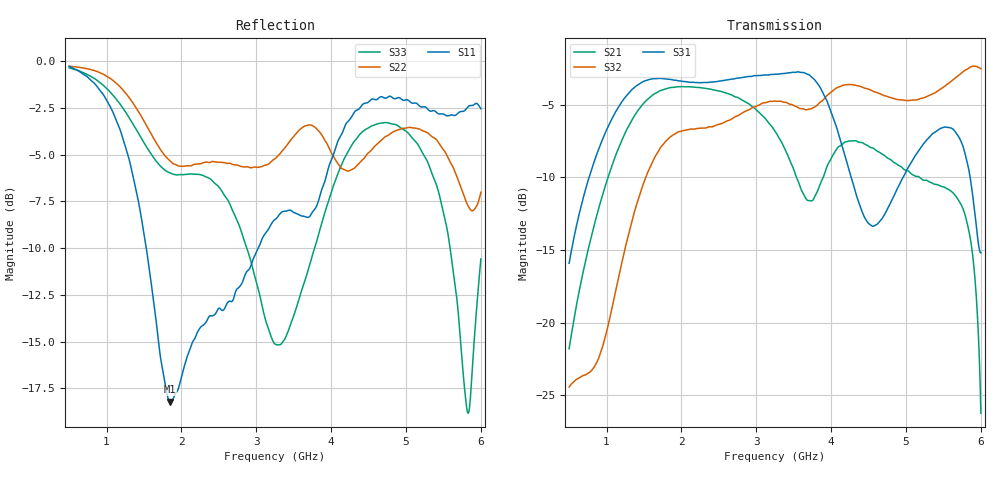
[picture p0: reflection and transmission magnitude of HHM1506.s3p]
! Port assignments
!  [o  ] 3
!  1 [o  ] 2
! Measurement condition
!  Operating Temperature = 25 Cel
!  DC Bias Current = 0 A
! TDK Corporation
# MHz S MA R 50
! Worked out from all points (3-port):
!   551 points, 500 MHz to 6 GHz, reference 50 ohm
!   strongest paths, dB at 500 MHz, 1.87 GHz, 3.25 GHz, 4.63 GHz, 6 GHz:
!     S31: -15.9, -3.3, -2.9, -13.1, -15.2
!     S32: -24.4, -7.1, -4.7, -4.2, -2.5
!     S21: -21.8, -3.8, -6.8, -8.2, -26.2
!   lowest |S11| = -18.2 dB at 1.85 GHz (marker M1), VSWR 1.28, Z = 40.5 + j5.92 ohm
!   |S11| at or under -10 dB: 1.531 GHz to 3.026 GHz (1.495 GHz wide, 65.6 % of centre)
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500  0.9672 -105.7  0.08218 -73.1  0.1617 101.0
     0.08137 -73.5  0.9684 134.2  0.05993 48.3
     0.1602 100.8  0.06004 48.5  0.9585 130.5
1180  0.6558 148.8  0.4157 -165.3  0.5712 9.7
      0.4105 -165.2  0.8534 63.3  0.15 54.6
      0.5632 9.9  0.1505 54.9  0.7674 53.7
1850  0.123 144.2  0.6472 109.8  0.6916 -74.8
      0.6449 110.1  0.5401 -54.6  0.4348 -46.8
      0.6886 -74.1  0.436 -46.5  0.5018 -62.6
2480  0.2156 179.9  0.6348 50.9  0.6724 -134.1
      0.629 51.0  0.5361 -174.5  0.4744 -159.8
      0.6771 -133.9  0.4806 -159.8  0.4652 177.2
3250  0.3768 164.2  0.4579 -33.8  0.7154 155.7
      0.4561 -32.7  0.548 72.2  0.574 104.2
      0.7173 155.8  0.5797 103.4  0.1752 37.9
3940  0.4967 -17.1  0.3408 109.3  0.5858 81.5
      0.3428 109.3  0.6035 -45.8  0.6024 54.7
      0.583 81.0  0.6043 54.4  0.4075 -65.1
4430  0.768 -107.9  0.4205 12.1  0.238 66.5
      0.415 13.2  0.5473 -62.5  0.6325 10.3
      0.2353 66.8  0.6449 10.4  0.6499 -102.4
5250  0.7542 -179.5  0.316 -79.2  0.4215 75.5
      0.3092 -78.2  0.6481 -96.9  0.5916 -53.8
      0.4177 75.9  0.5964 -53.9  0.5548 -161.5
5820  0.7514 128.8  0.2169 -168.9  0.354 20.6
      0.2183 -169.0  0.413 -108.6  0.7536 -113.7
      0.3537 21.3  0.7474 -114.8  0.1154 64.8
6000  0.7452 91.7  0.04867 154.2  0.1729 44.1
      0.04874 154.8  0.4459 -94.1  0.754 -141.7
      0.174 44.7  0.7487 -142.6  0.2958 -42.0
